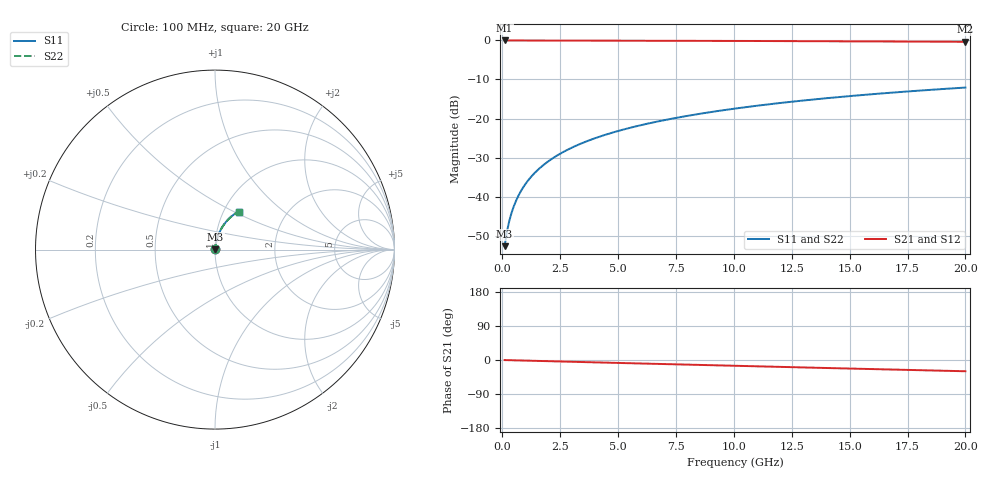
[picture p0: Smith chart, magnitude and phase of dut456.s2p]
! Touchstone file exported from HFSS 2026.1.0
!  File:  C:/ffzhzh/LocalFiles/Ansys_Project_Files/temp_train_TMRDL_456_1783005904_4048.aedt
!  Generated:  11:26:31 PM Jul  2, 2026
!  Design:  TMRDL
!  Project:  temp_train_TMRDL_456_1783005904_4048
! Variables:
!  h_bsmrdl = 2um
!  h_ox = 20um
!  h_rdl = 5um
!  h_sub = 80um
!  h_tmrdl = 5.11um
!  h_tsv = 80um
!  h_via = 3um
!  l_bsmrdl = 300um
!  l_sub = 844.96um
!  l_tmrdl = 444.96um
!  m_sub = 200um
!  pitch = 39.98um
!  r_tsv = 6um
!  s_tmrdl = 10um
!  w_bsmrdl = 18um
!  w_sub = 500um
!  w_tmrdl = 19.62um
!  x_tsv_center1 = 454.77um
!  x_tsv_center2 = 772.77um
!  x_tsv_center3 = 1237.35um
!  x_tsv_center4 = 1555.35um
!  x_tsv_center5 = 2019.93um
!  x_tsv_center6 = 2337.93um
# GHz S MA R 50.000000
! Terminal data exported
! Port[1] = TM_RDL1_1_T1
! Port[2] = TM_RDL1_1_T2
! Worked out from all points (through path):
!   200 points, 100 MHz to 20 GHz, reference 50 ohm
!   highest |S21| = -0.01 dB at 100 MHz (marker M1); lowest = -0.4 dB at 20 GHz (marker M2)
!   group delay of S21, straight-line fit = 4.12 ps
!   lowest |S11| = -52.6 dB at 100 MHz (marker M3), VSWR 1.00, Z = 50.2 + j0.158 ohm
!   |S11| at or under -10 dB: start of sweep to end of sweep
!   |S22| runs from -52.6 to -12.1 dB; largest |S21 - S12| = 2.5e-15
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0.1  0.002337 42.3  0.9983 -0.2  0.9983 -0.2  0.002337 42.3
! Gamma 0 0 0 0
! Port Impedance 50 0 50 0
0.2  0.003574 58.8  0.9982 -0.3  0.9982 -0.3  0.003574 58.8
0.3  0.004895 66.4  0.9981 -0.5  0.9981 -0.5  0.004895 66.4
0.4  0.006241 70.8  0.998 -0.6  0.998 -0.6  0.006241 70.8
0.5  0.007605 73.7  0.9979 -0.8  0.9979 -0.8  0.007605 73.7
0.6  0.008983 75.7  0.9979 -1.0  0.9979 -1.0  0.008983 75.7
0.8  0.01177 78.3  0.9978 -1.3  0.9978 -1.3  0.01177 78.3
1.1  0.01598 80.2  0.9976 -1.7  0.9976 -1.7  0.01598 80.2
1.5  0.02161 81.2  0.9974 -2.4  0.9974 -2.4  0.02161 81.2
1.8  0.02582 81.5  0.9971 -2.8  0.9971 -2.8  0.02582 81.5
2.1  0.03002 81.5  0.9968 -3.3  0.9968 -3.3  0.03002 81.5
2.7  0.03834 81.2  0.9962 -4.2  0.9962 -4.2  0.03834 81.2
3.5  0.0493 80.4  0.9953 -5.5  0.9953 -5.5  0.0493 80.4
4.2  0.05875 79.6  0.9943 -6.5  0.9943 -6.5  0.05875 79.6
5  0.06943 78.6  0.9932 -7.7  0.9932 -7.7  0.06943 78.6
5.9  0.08129 77.4  0.9918 -9.1  0.9918 -9.1  0.08129 77.5
6.8  0.09301 76.3  0.9904 -10.5  0.9904 -10.5  0.09301 76.3
8.3  0.1123 74.3  0.9878 -12.7  0.9878 -12.7  0.1123 74.3
10.1  0.1349 71.8  0.9843 -15.4  0.9843 -15.4  0.1349 71.8
13.4  0.1752 67.3  0.9771 -20.2  0.9771 -20.2  0.1752 67.3
16.7  0.2134 62.8  0.9687 -25.0  0.9687 -25.0  0.2134 62.8
20  0.2494 58.3  0.9596 -29.7  0.9596 -29.7  0.2494 58.3
